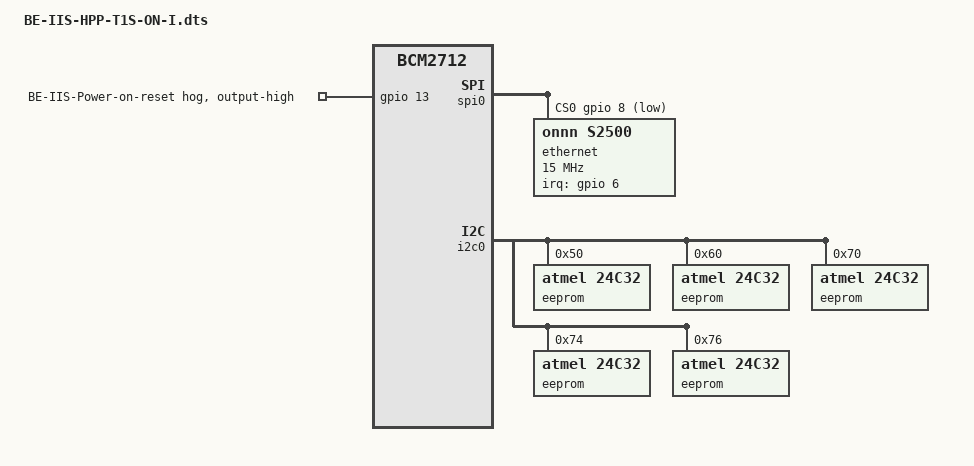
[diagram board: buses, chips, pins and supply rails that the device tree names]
// SPDX-License-Identifier: GPL-2.0-or-later
// BE-IIS-HPP-T1S-ON, HAT++ instance I
// SPI0 CE0: BCM GPIO8; IRQ/BUSY: BCM GPIO6
// 10BASE-T1S MAC-PHY.
// Requires SPI0 enabled. GPIO numbers are BCM, not physical header pin numbers.
/dts-v1/;
/plugin/;

#include <dt-bindings/interrupt-controller/irq.h>
#include <dt-bindings/gpio/gpio.h>

/ {
    compatible = "brcm,bcm2835", "brcm,bcm2711", "brcm,bcm2712";

    /*
     * Shared BE-IIS ADC CONVST line: BCM GPIO23 (physical pin 16).
     * Instance I defines this shared pin, even when Instance I is not
     * an ADC HAT. Instances II and III must not define it again.
     * Pinmux only: no GPIO hog, so userspace or a future controller
     * can request the line. The consumer must set the initial level.
     * Note: this state must be selected by a pinctrl consumer to take effect.
     */
    fragment@11 {
        target = <&gpio>;
        __overlay__ {
            beiis_convert_pin: beiis-convert-pin {
                brcm,pins = <23>;
                brcm,function = <1>; /* GPIO output */
                brcm,pull = <0>;     /* no pull */
            };
        };
    };


    fragment@0 {
        target = <&spi0>;
        __overlay__ {
            #address-cells = <1>;
            #size-cells = <0>;
            status = "okay";
            num-cs = <3>;
            cs-gpios = <&gpio 8 GPIO_ACTIVE_LOW>,
                       <&gpio 7 GPIO_ACTIVE_LOW>,
                       <&gpio 16 GPIO_ACTIVE_LOW>;

            ethernet@0 {
                compatible = "onnn,s2500";
                reg = <0>;
                spi-max-frequency = <15000000>;
                pinctrl-names = "default";
                pinctrl-0 = <&beiis_t1s_on_i_irq>;
                interrupt-parent = <&gpio>;
                interrupts = <6 IRQ_TYPE_LEVEL_LOW>;
                status = "okay";
            };
        };
    };

    fragment@1 {
        target = <&spidev0>;
        __overlay__ { status = "disabled"; };
    };
    fragment@2 {
        target = <&gpio>;
        __overlay__ {
            beiis_t1s_on_i_irq: beiis-t1s-on-i-irq {
                brcm,pins = <6>;
                brcm,function = <0>; /* input */
                brcm,pull = <2>; /* pull-up */
            };
        };
    };
    /* Keep spare HAT++ chip selects and identification resources available. */
    fragment@3 { target = <&spidev1>; __overlay__ { status = "disabled"; }; };
    fragment@9 {
        target = <&i2c0>;
        __overlay__ {
            #address-cells = <1>;
            #size-cells = <0>;
            eeprom@50 { compatible = "atmel,24c32"; reg = <0x50>; status = "okay"; };
            eeprom@60 { compatible = "atmel,24c32"; reg = <0x60>; status = "okay"; };
            eeprom@70 { compatible = "atmel,24c32"; reg = <0x70>; status = "okay"; };
            eeprom@74 { compatible = "atmel,24c32"; reg = <0x74>; status = "okay"; };
            eeprom@76 { compatible = "atmel,24c32"; reg = <0x76>; status = "okay"; };
        };
    };
    fragment@10 {
        target = <&gpio>;
        __overlay__ {
            be_iis_porst: be-iis-porst {
                gpio-hog;
                gpios = <13 GPIO_ACTIVE_HIGH>;
                output-high;
                line-name = "BE-IIS-Power-on-reset";
            };
        };
    };
};
